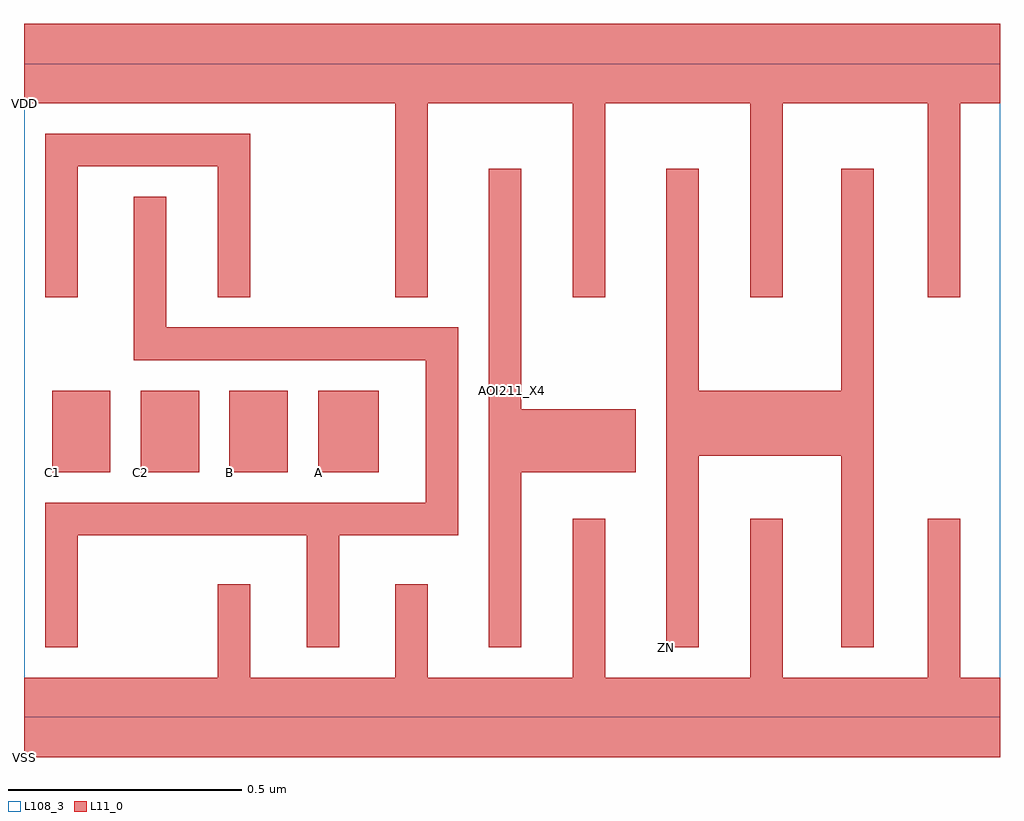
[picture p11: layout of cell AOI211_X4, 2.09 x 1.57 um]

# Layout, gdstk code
import gdstk
lib = gdstk.Library(unit=1e-6, precision=1e-09)
def R(c, l, rs):  # rectangles x0, y0, x1, y1
    for r in rs: c.add(gdstk.rectangle(r[:2], r[2:], *l))
def A(c, l, x, y, w, h, nx, ny, dx, dy):  # array of equal rectangles
    R(c, l, [(x+i*dx, y+j*dy, x+i*dx+w, y+j*dy+h) for i in range(nx) for j in range(ny)])
def P(c, l, *ps):  # polygons
    for p in ps: c.add(gdstk.Polygon(p, *l))
L11_0 = (11, 0)
L108_3 = (108, 3)

aoi211_x4 = lib.new_cell('AOI211_X4')
A(aoi211_x4, L11_0, 0.06, 0.525, 0.125, 0.175, 3, 1, 0.19, 0)
R(aoi211_x4, L11_0, [(0.63,0.525,0.76,0.7)])
P(aoi211_x4, L11_0, [(1.375,0.15),(1.445,0.15),(1.445,0.56),(1.75,0.56),(1.75,0.15),(1.82,0.15),(1.82,1.175),(1.75,1.175),(1.75,0.7),(1.445,0.7),(1.445,1.175),(1.375,1.175)],
  [(0,1.315),(0.485,1.315),(0.795,1.315),(0.795,0.9),(0.865,0.9),(0.865,1.315),(0.93,1.315),(1.175,1.315),(1.175,0.9),(1.245,0.9),(1.245,1.315),(1.31,1.315),(1.555,1.315),(1.555,0.9),(1.625,0.9),(1.625,1.315),(1.935,1.315),(1.935,0.9),(2.005,0.9),(2.005,1.315),(2.09,1.315),(2.09,1.485),(1.31,1.485),(0.93,1.485),(0.485,1.485),(0,1.485)],
  [(0,-0.085),(2.09,-0.085),(2.09,0.085),(2.005,0.085),(2.005,0.425),(1.935,0.425),(1.935,0.085),(1.625,0.085),(1.625,0.425),(1.555,0.425),(1.555,0.085),(1.245,0.085),(1.245,0.425),(1.175,0.425),(1.175,0.085),(0.865,0.085),(0.865,0.285),(0.795,0.285),(0.795,0.085),(0.485,0.085),(0.485,0.285),(0.415,0.285),(0.415,0.085),(0,0.085)],
  [(0.045,0.9),(0.115,0.9),(0.115,1.18),(0.415,1.18),(0.415,0.9),(0.485,0.9),(0.485,1.25),(0.045,1.25)],
  [(0.235,0.765),(0.86,0.765),(0.86,0.46),(0.045,0.46),(0.045,0.15),(0.115,0.15),(0.115,0.39),(0.605,0.39),(0.605,0.15),(0.675,0.15),(0.675,0.39),(0.93,0.39),(0.93,0.835),(0.305,0.835),(0.305,1.115),(0.235,1.115)],
  [(0.995,0.15),(1.065,0.15),(1.065,0.525),(1.31,0.525),(1.31,0.66),(1.065,0.66),(1.065,1.175),(0.995,1.175)])
R(aoi211_x4, L108_3, [(0,0,2.09,1.4)])
aoi211_x4.add(gdstk.Label('AOI211_X4', (1.045,0.7), layer=108, texttype=3))
aoi211_x4.add(gdstk.Label('A', (0.63,0.525), layer=11, texttype=0))
aoi211_x4.add(gdstk.Label('B', (0.44,0.525), layer=11, texttype=0))
aoi211_x4.add(gdstk.Label('C1', (0.06,0.525), layer=11, texttype=0))
aoi211_x4.add(gdstk.Label('C2', (0.25,0.525), layer=11, texttype=0))
aoi211_x4.add(gdstk.Label('ZN', (1.375,0.15), layer=11, texttype=0))
aoi211_x4.add(gdstk.Label('VDD', (0,1.315), layer=11, texttype=0))
aoi211_x4.add(gdstk.Label('VSS', (0,-0.085), layer=11, texttype=0))

lib.write_gds('AOI211_X4.gds')
